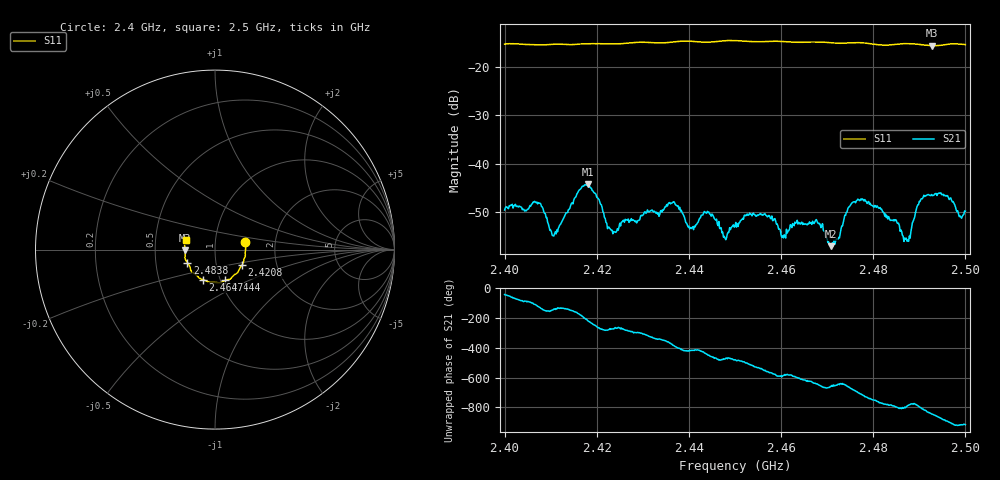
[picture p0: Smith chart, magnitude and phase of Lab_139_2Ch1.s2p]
# Hz S RI R 50
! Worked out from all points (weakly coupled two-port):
!   601 points, 2.4 GHz to 2.5 GHz, reference 50 ohm
!   highest |S21| = -44.27 dB at 2.418 GHz (marker M1); lowest = -57.1 dB at 2.4708 GHz (marker M2)
!   lowest |S11| = -15.6 dB at 2.4928 GHz (marker M3), VSWR 1.40, Z = 35.8 - j0.355 ohm
!   |S11| at or under -10 dB: start of sweep to end of sweep
!   S12 and S22 are empty: the file has one direction only
!   S11 on the Smith chart (normalised r, x): 2.4 GHz: 1.40, +0.12; 2.4208 GHz: 1.33, -0.24; 2.444 GHz: 1.06, -0.37; 2.4647 GHz: 0.83, -0.29; 2.4838 GHz: 0.73, -0.11; 2.5 GHz: 0.72, +0.08
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2.4e9  0.1676 0.0413  0.0024 -0.00229  0 0  0 0
2.407333e9  0.169 -0.0123  -0.00221 -0.00328  0 0  0 0
2.410667e9  0.169 -0.0314  -0.0014 -0.00111  0 0  0 0
2.416667e9  0.1589 -0.0681  -0.00561 0.000458  0 0  0 0
2.418e9  0.1563 -0.0761  -0.00484 0.00374  0 0  0 0
2.420833e9  0.1505 -0.0869  0.000169 0.0038  0 0  0 0
2.423667e9  0.1408 -0.1005  0.000156 0.00198  0 0  0 0
2.433333e9  0.1079 -0.1403  0.00296 0.000904  0 0  0 0
2.4405e9  0.0799 -0.1662  0.00116 -0.00179  0 0  0 0
2.444e9  0.0582 -0.1708  0.000252 -0.0032  0 0  0 0
2.447667e9  0.0343 -0.1833  -0.000777 -0.0016  0 0  0 0
2.45e9  0.0247 -0.186  -0.00113 -0.00194  0 0  0 0
2.464667e9  -0.0673 -0.167  -0.000627 0.00227  0 0  0 0
2.466667e9  -0.0798 -0.1628  -4.2e-05 0.00236  0 0  0 0
2.470833e9  -0.0961 -0.1496  0.000688 0.00122  0 0  0 0
2.476167e9  -0.1284 -0.1237  0.0034 0.002  0 0  0 0
2.483333e9  -0.1505 -0.0761  0.00119 -0.00258  0 0  0 0
2.483833e9  -0.1533 -0.0722  0.00118 -0.00231  0 0  0 0
2.4875e9  -0.1669 -0.0501  0.00064 -0.00149  0 0  0 0
2.49e9  -0.1675 -0.0359  0.00102 -0.00395  0 0  0 0
2.492833e9  -0.1659 -0.00482  -0.00269 -0.00383  0 0  0 0
2.5e9  -0.1622 0.0528  -0.00312 0.000838  0 0  0 0
